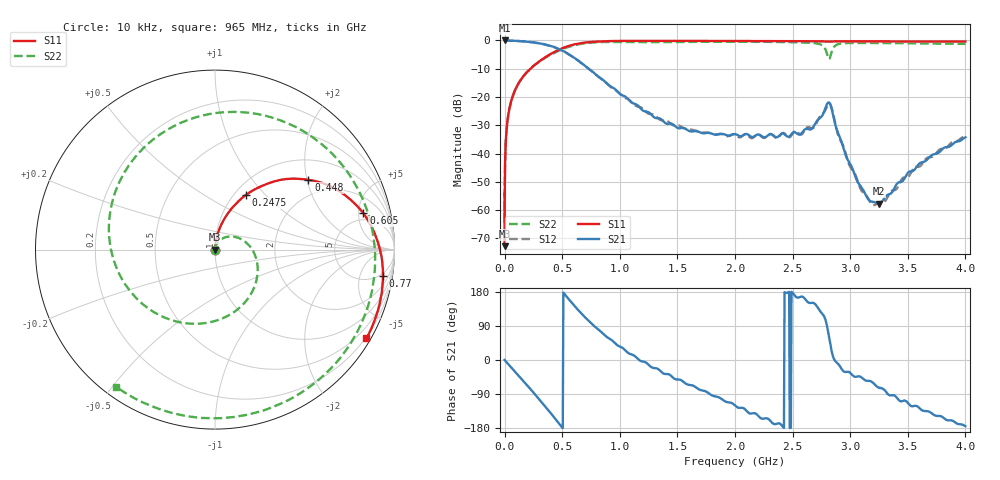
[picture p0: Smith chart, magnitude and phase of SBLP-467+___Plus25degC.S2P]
! Mini-Circuits
! S2P DATA File Format
! Type: Low Pass Coaxial Filter
! Model: SBLP-467+
! Note: All S Parameters are in dB deg format
! TEST CONDITIONS: INPUT POWER = 0dBm @Temperature = +25degC
! 1601 Frequency points
# MHz S DB R 50
!  FREQ  dB(S11)  PHS(S11)  dB(S21)  PHS(S21)  dB(S12)  PHS(S12)  dB(S22)  PHS(S22)
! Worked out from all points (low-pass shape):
!   1601 points, 10 kHz to 4 GHz, reference 50 ohm
!   highest |S21| = 0.00 dB at 330 kHz (marker M1); lowest = -57.8 dB at 3.25 GHz (marker M2)
!   |S21| within 3 dB of the highest: start of sweep to 468.5 MHz
!   lowest |S11| = -72.8 dB at 10 kHz (marker M3), VSWR 1.00, Z = 50 + j0.0181 ohm
!   |S11| at or under -10 dB: start of sweep to 223.5 MHz
!   |S22| runs from -65.3 to -0.4 dB; largest |S21 - S12| = 0.013
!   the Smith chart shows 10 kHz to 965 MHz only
!   S11 on the Smith chart (normalised r, x): 10 kHz: 1.00, +0.00; 247.5 MHz: 1.13, +0.78; 448 MHz: 1.51, +2.04; 605 MHz: 3.88, +5.70; 770 MHz: 4, -11; 965 MHz: 0.16, -3.67
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0.01  -72.78 52.2  -0.01 0.0  -0.01 -0.0  -64.21 -1.6
0.33  -61.34 44.6  0.00 -0.1  -0.01 -0.1  -61.32 46.1
1  -54.38 69.1  -0.01 -0.4  -0.01 -0.4  -54.20 68.0
9.5  -36.34 82.3  -0.02 -3.3  -0.02 -3.3  -36.29 77.5
39.5  -24.57 81.9  -0.05 -13.5  -0.05 -13.5  -24.46 62.2
247.5  -9.13 60.5  -0.68 -84.8  -0.68 -84.8  -9.12 -66.3
448  -3.74 36.8  -2.61 -158.8  -2.72 -158.7  -4.06 157.2
605  -1.40 13.8  -6.11 143.3  -6.16 143.6  -1.70 53.9
670  -0.90 4.2  -8.07 121.6  -8.09 121.7  -1.17 15.3
770  -0.47 -9.0  -11.27 91.8  -11.32 91.3  -0.72 -38.3
965  -0.19 -30.4  -17.46 42.4  -17.62 44.1  -0.52 -125.8
1130  -0.15 -46.0  -22.42 10.5  -22.89 10.3  -0.56 172.5
1335  -0.15 -63.1  -27.50 -24.4  -27.62 -26.9  -0.58 106.0
1675  -0.18 -88.7  -32.18 -75.2  -32.15 -77.3  -0.49 10.3
2005  -0.21 -112.4  -33.16 -121.3  -33.49 -124.5  -0.45 -73.1
2370  -0.24 -138.2  -34.16 -167.4  -34.49 -166.9  -0.55 -160.0
2670  -0.28 -159.4  -31.10 150.9  -31.09 145.4  -0.88 127.9
2820  -0.40 -169.5  -22.11 53.9  -22.29 57.5  -6.52 106.9
3250  -0.33 160.4  -57.75 -72.8  -57.27 -71.8  -0.91 8.6
3335  -0.34 154.2  -54.47 -91.9  -54.62 -84.4  -0.93 -10.9
3665  -0.35 131.5  -42.26 -134.7  -41.61 -132.1  -1.07 -86.5
4000  -0.38 106.9  -34.28 -174.6  -33.88 -173.9  -1.21 -163.8
